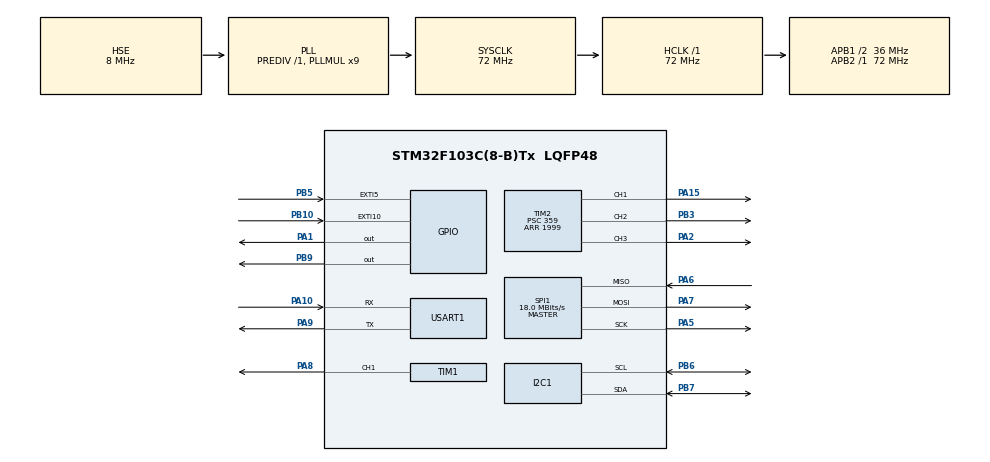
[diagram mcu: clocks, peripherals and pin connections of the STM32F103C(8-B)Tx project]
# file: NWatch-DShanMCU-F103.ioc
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I2C1.I2C_Mode=I2C_Fast
Mcu.Family=STM32F1
Mcu.Name=STM32F103C(8-B)Tx
Mcu.Package=LQFP48
NVIC.EXTI15_10_IRQn=true\:5\:0\:true\:false\:true\:true\:true\:true
NVIC.PriorityGroup=NVIC_PRIORITYGROUP_4
PA1.GPIO_ModeDefaultOutputPP=GPIO_MODE_OUTPUT_OD
PA1.GPIO_PuPd=GPIO_PULLUP
PA1.Signal=GPIO_Output
PA10.Mode=Asynchronous
PA10.Signal=USART1_RX
PA13.Mode=Serial_Wire
PA13.Signal=SYS_JTMS-SWDIO
PA14.Mode=Serial_Wire
PA14.Signal=SYS_JTCK-SWCLK
PA15.Signal=S_TIM2_CH1_ETR
PA2.Signal=S_TIM2_CH3
PA5.Mode=Full_Duplex_Master
PA5.Signal=SPI1_SCK
PA6.Mode=Full_Duplex_Master
PA6.Signal=SPI1_MISO
PA7.Mode=Full_Duplex_Master
PA7.Signal=SPI1_MOSI
PA8.Signal=S_TIM1_CH1
PA9.Mode=Asynchronous
PA9.Signal=USART1_TX
PB10.GPIO_ModeDefaultEXTI=GPIO_MODE_IT_RISING_FALLING
PB10.GPIO_PuPd=GPIO_PULLUP
PB10.Signal=GPXTI10
PB3.Signal=S_TIM2_CH2
PB5.GPIO_PuPd=GPIO_PULLUP
PB5.Signal=GPXTI5
PB6.Mode=I2C
PB6.Signal=I2C1_SCL
PB7.Mode=I2C
PB7.Signal=I2C1_SDA
PB9.Signal=GPIO_Output
PD0-OSC_IN.Mode=HSE-External-Oscillator
PD0-OSC_IN.Signal=RCC_OSC_IN
PD1-OSC_OUT.Mode=HSE-External-Oscillator
PD1-OSC_OUT.Signal=RCC_OSC_OUT
ProjectManager.HeapSize=0x200
ProjectManager.StackSize=0x400
ProjectManager.TargetToolchain=MDK-ARM V5.32
RCC.AHBFreq_Value=72000000
RCC.APB1CLKDivider=RCC_HCLK_DIV2
RCC.APB1Freq_Value=36000000
RCC.APB1TimFreq_Value=72000000
RCC.APB2Freq_Value=72000000
RCC.APB2TimFreq_Value=72000000
RCC.HCLKFreq_Value=72000000
RCC.PLLMUL=RCC_PLL_MUL9
RCC.PLLSourceVirtual=RCC_PLLSOURCE_HSE
RCC.SYSCLKFreq_VALUE=72000000
RCC.SYSCLKSource=RCC_SYSCLKSOURCE_PLLCLK
RCC.USBFreq_Value=72000000
SH.S_TIM1_CH1.0=TIM1_CH1,PWM Generation1 CH1
SH.S_TIM2_CH1_ETR.0=TIM2_CH1,PWM Generation1 CH1
SH.S_TIM2_CH2.0=TIM2_CH2,PWM Generation2 CH2
SH.S_TIM2_CH3.0=TIM2_CH3,PWM Generation3 CH3
SPI1.BaudRatePrescaler=SPI_BAUDRATEPRESCALER_4
SPI1.CalculateBaudRate=18.0 MBits/s
SPI1.Direction=SPI_DIRECTION_2LINES
SPI1.Mode=SPI_MODE_MASTER
SPI1.VirtualType=VM_MASTER
TIM1.AutoReloadPreload=TIM_AUTORELOAD_PRELOAD_ENABLE
TIM1.Channel-PWM\ Generation1\ CH1=TIM_CHANNEL_1
TIM1.Period=999
TIM1.Prescaler=71
TIM1.Pulse-PWM\ Generation1\ CH1=499
TIM2.AutoReloadPreload=TIM_AUTORELOAD_PRELOAD_ENABLE
TIM2.Channel-PWM\ Generation1\ CH1=TIM_CHANNEL_1
TIM2.Channel-PWM\ Generation2\ CH2=TIM_CHANNEL_2
TIM2.Channel-PWM\ Generation3\ CH3=TIM_CHANNEL_3
TIM2.Period=1999
TIM2.Prescaler=359
USART1.VirtualMode=VM_ASYNC
VP_TIM2_VS_ClockSourceINT.Mode=Internal
board=custom

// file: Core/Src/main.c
/* USER CODE BEGIN Header */
// SPDX-License-Identifier: GPL-3.0-only
/*
 * Copyright (c) 2008-2023 100askTeam : Dongshan WEI <weidongshan@qq.com>
 * Discourse:  https://forums.100ask.net
 */

/*  Copyright (C) 2008-2023 深圳百问网科技有限公司
 *  All rights reserved
 *
 * 免责声明: 百问网编写的文档, 仅供学员学习使用, 可以转发或引用(请保留作者信息),禁止用于商业用途！
 * 免责声明: 百问网编写的程序, 可以用于商业用途, 但百问网不承担任何后果！
 *
 * 文件名称：driver_color_led.c
 * 本程序遵循GPL V3协议, 请遵循协议
 * 百问网学习平台   : https://www.100ask.net
 * 百问网交流社区   : https://forums.100ask.net
 * 百问网官方B站    : https://space.bilibili.com/275908810
 * 本程序所用开发板 : DShanMCU-F103
 * 百问网官方淘宝   : https://100ask.taobao.com
 * 联系我们(E-mail): weidongshan@qq.com
 *
 *          版权所有，盗版必究。
 *
 * 修改历史     版本号           作者        修改内容
 *-----------------------------------------------------
 * 2023.08.04      v01         百问科技      创建文件
 *-----------------------------------------------------
 */

/**
  ******************************************************************************
  * @file           : main.c
  * @brief          : Main program body
  ******************************************************************************
  * @attention
  *
  * Copyright (c) 2023 STMicroelectronics.
  * All rights reserved.
  *
  * This software is licensed under terms that can be found in the LICENSE file
  * in the root directory of this software component.
  * If no LICENSE file comes with this software, it is provided AS-IS.
  *
  ******************************************************************************
  */
/* USER CODE END Header */
#include "main.h"

I2C_HandleTypeDef hi2c1;

SPI_HandleTypeDef hspi1;

TIM_HandleTypeDef htim1;
TIM_HandleTypeDef htim2;

UART_HandleTypeDef huart1;

void SystemClock_Config(void);
static void MX_GPIO_Init(void);
static void MX_I2C1_Init(void);
static void MX_TIM1_Init(void);
static void MX_TIM2_Init(void);
static void MX_USART1_UART_Init(void);
static void MX_SPI1_Init(void);

int main(void)
{

  /* MCU Configuration--------------------------------------------------------*/

  /* Reset of all peripherals, Initializes the Flash interface and the Systick. */
  HAL_Init();

  /* Configure the system clock */
  SystemClock_Config();

  /* Initialize all configured peripherals */
  MX_GPIO_Init();
  MX_I2C1_Init();
  MX_TIM1_Init();
  MX_TIM2_Init();
  MX_USART1_UART_Init();
  MX_SPI1_Init();
  /* USER CODE BEGIN 2 */
	PassiveBuzzer_Init();
	ColorLED_Init();
	DHT11_Init();

	appconfig_init();
	LCD_Init();
  LCD_Clear();

	draw_init();

	console_log(50,"Init_OLED: OK");
	console_log(100,"--- welcome !---");
	console_log(50,"  _   _    _    ");
	console_log(50," | | | |  |_|   ");
	console_log(50," | |_| |   _    ");
	console_log(50," |  _  |  | |   ");
	console_log(50," | | | |  | |   ");
	console_log(50," |_| |_|  |_|   ");
	console_log(50,"                ");
	console_log(100,"-www.100ask.net-");

	time_init();
	///rtc_init();
	global_init();
	alarm_init();             //�����޷��������ӣ�ÿ�������Ժ���Ҫ�Զ���
  buttons_init();
  global_init();
	pwrmgr_init();

	console_log(50, "Init_MPU: OK!");
	console_log(500,"Loading...");

	LCD_Clear();
	LCD_ClearFrameBuffer();

	// Set watchface
	display_set(watchface_normal);
	display_load();

  /* USER CODE END 2 */

  /* Infinite loop */
  while (1)
  {

    /* USER CODE BEGIN 3 */
		time_update();
		if(pwrmgr_userActive())
		{
			///battery_update();
			buttons_update();
		}

		buzzer_update();

		led_update();

#if COMPILE_STOPWATCH
		stopwatch_update();
#endif

		global_update();

		if(pwrmgr_userActive())
		{
			 alarm_update();
			 display_update();
		}

		pwrmgr_update();     //����ͣ��ģʽ

  }
  /* USER CODE END 3 */
}

void SystemClock_Config(void)
{
  RCC_OscInitTypeDef RCC_OscInitStruct = {0};
  RCC_ClkInitTypeDef RCC_ClkInitStruct = {0};

  /** Initializes the RCC Oscillators according to the specified parameters
  * in the RCC_OscInitTypeDef structure.
  */
  RCC_OscInitStruct.OscillatorType = RCC_OSCILLATORTYPE_HSE;
  RCC_OscInitStruct.HSEState = RCC_HSE_ON;
  RCC_OscInitStruct.HSEPredivValue = RCC_HSE_PREDIV_DIV1;
  RCC_OscInitStruct.HSIState = RCC_HSI_ON;
  RCC_OscInitStruct.PLL.PLLState = RCC_PLL_ON;
  RCC_OscInitStruct.PLL.PLLSource = RCC_PLLSOURCE_HSE;
  RCC_OscInitStruct.PLL.PLLMUL = RCC_PLL_MUL9;
  if (HAL_RCC_OscConfig(&RCC_OscInitStruct) != HAL_OK)
  {
    Error_Handler();
  }

  /** Initializes the CPU, AHB and APB buses clocks
  */
  RCC_ClkInitStruct.ClockType = RCC_CLOCKTYPE_HCLK|RCC_CLOCKTYPE_SYSCLK
                              |RCC_CLOCKTYPE_PCLK1|RCC_CLOCKTYPE_PCLK2;
  RCC_ClkInitStruct.SYSCLKSource = RCC_SYSCLKSOURCE_PLLCLK;
  RCC_ClkInitStruct.AHBCLKDivider = RCC_SYSCLK_DIV1;
  RCC_ClkInitStruct.APB1CLKDivider = RCC_HCLK_DIV2;
  RCC_ClkInitStruct.APB2CLKDivider = RCC_HCLK_DIV1;

  if (HAL_RCC_ClockConfig(&RCC_ClkInitStruct, FLASH_LATENCY_2) != HAL_OK)
  {
    Error_Handler();
  }
}

static void MX_I2C1_Init(void)
{

  hi2c1.Instance = I2C1;
  hi2c1.Init.ClockSpeed = 400000;
  hi2c1.Init.DutyCycle = I2C_DUTYCYCLE_2;
  hi2c1.Init.OwnAddress1 = 0;
  hi2c1.Init.AddressingMode = I2C_ADDRESSINGMODE_7BIT;
  hi2c1.Init.DualAddressMode = I2C_DUALADDRESS_DISABLE;
  hi2c1.Init.OwnAddress2 = 0;
  hi2c1.Init.GeneralCallMode = I2C_GENERALCALL_DISABLE;
  hi2c1.Init.NoStretchMode = I2C_NOSTRETCH_DISABLE;
  if (HAL_I2C_Init(&hi2c1) != HAL_OK)
  {
    Error_Handler();
  }

}

static void MX_SPI1_Init(void)
{

  /* SPI1 parameter configuration*/
  hspi1.Instance = SPI1;
  hspi1.Init.Mode = SPI_MODE_MASTER;
  hspi1.Init.Direction = SPI_DIRECTION_2LINES;
  hspi1.Init.DataSize = SPI_DATASIZE_8BIT;
  hspi1.Init.CLKPolarity = SPI_POLARITY_LOW;
  hspi1.Init.CLKPhase = SPI_PHASE_1EDGE;
  hspi1.Init.NSS = SPI_NSS_SOFT;
  hspi1.Init.BaudRatePrescaler = SPI_BAUDRATEPRESCALER_4;
  hspi1.Init.FirstBit = SPI_FIRSTBIT_MSB;
  hspi1.Init.TIMode = SPI_TIMODE_DISABLE;
  hspi1.Init.CRCCalculation = SPI_CRCCALCULATION_DISABLE;
  hspi1.Init.CRCPolynomial = 10;
  if (HAL_SPI_Init(&hspi1) != HAL_OK)
  {
    Error_Handler();
  }

}

static void MX_TIM1_Init(void)
{

  TIM_MasterConfigTypeDef sMasterConfig = {0};
  TIM_OC_InitTypeDef sConfigOC = {0};
  TIM_BreakDeadTimeConfigTypeDef sBreakDeadTimeConfig = {0};

  htim1.Instance = TIM1;
  htim1.Init.Prescaler = 71;
  htim1.Init.CounterMode = TIM_COUNTERMODE_UP;
  htim1.Init.Period = 999;
  htim1.Init.ClockDivision = TIM_CLOCKDIVISION_DIV1;
  htim1.Init.RepetitionCounter = 0;
  htim1.Init.AutoReloadPreload = TIM_AUTORELOAD_PRELOAD_ENABLE;
  if (HAL_TIM_PWM_Init(&htim1) != HAL_OK)
  {
    Error_Handler();
  }
  sMasterConfig.MasterOutputTrigger = TIM_TRGO_RESET;
  sMasterConfig.MasterSlaveMode = TIM_MASTERSLAVEMODE_DISABLE;
  if (HAL_TIMEx_MasterConfigSynchronization(&htim1, &sMasterConfig) != HAL_OK)
  {
    Error_Handler();
  }
  sConfigOC.OCMode = TIM_OCMODE_PWM1;
  sConfigOC.Pulse = 499;
  sConfigOC.OCPolarity = TIM_OCPOLARITY_HIGH;
  sConfigOC.OCNPolarity = TIM_OCNPOLARITY_HIGH;
  sConfigOC.OCFastMode = TIM_OCFAST_DISABLE;
  sConfigOC.OCIdleState = TIM_OCIDLESTATE_RESET;
  sConfigOC.OCNIdleState = TIM_OCNIDLESTATE_RESET;
  if (HAL_TIM_PWM_ConfigChannel(&htim1, &sConfigOC, TIM_CHANNEL_1) != HAL_OK)
  {
    Error_Handler();
  }
  sBreakDeadTimeConfig.OffStateRunMode = TIM_OSSR_DISABLE;
  sBreakDeadTimeConfig.OffStateIDLEMode = TIM_OSSI_DISABLE;
  sBreakDeadTimeConfig.LockLevel = TIM_LOCKLEVEL_OFF;
  sBreakDeadTimeConfig.DeadTime = 0;
  sBreakDeadTimeConfig.BreakState = TIM_BREAK_DISABLE;
  sBreakDeadTimeConfig.BreakPolarity = TIM_BREAKPOLARITY_HIGH;
  sBreakDeadTimeConfig.AutomaticOutput = TIM_AUTOMATICOUTPUT_DISABLE;
  if (HAL_TIMEx_ConfigBreakDeadTime(&htim1, &sBreakDeadTimeConfig) != HAL_OK)
  {
    Error_Handler();
  }
  HAL_TIM_MspPostInit(&htim1);

}

static void MX_TIM2_Init(void)
{

  TIM_ClockConfigTypeDef sClockSourceConfig = {0};
  TIM_MasterConfigTypeDef sMasterConfig = {0};
  TIM_OC_InitTypeDef sConfigOC = {0};

  htim2.Instance = TIM2;
  htim2.Init.Prescaler = 359;
  htim2.Init.CounterMode = TIM_COUNTERMODE_UP;
  htim2.Init.Period = 1999;
  htim2.Init.ClockDivision = TIM_CLOCKDIVISION_DIV1;
  htim2.Init.AutoReloadPreload = TIM_AUTORELOAD_PRELOAD_ENABLE;
  if (HAL_TIM_Base_Init(&htim2) != HAL_OK)
  {
    Error_Handler();
  }
  sClockSourceConfig.ClockSource = TIM_CLOCKSOURCE_INTERNAL;
  if (HAL_TIM_ConfigClockSource(&htim2, &sClockSourceConfig) != HAL_OK)
  {
    Error_Handler();
  }
  if (HAL_TIM_PWM_Init(&htim2) != HAL_OK)
  {
    Error_Handler();
  }
  sMasterConfig.MasterOutputTrigger = TIM_TRGO_RESET;
  sMasterConfig.MasterSlaveMode = TIM_MASTERSLAVEMODE_DISABLE;
  if (HAL_TIMEx_MasterConfigSynchronization(&htim2, &sMasterConfig) != HAL_OK)
  {
    Error_Handler();
  }
  sConfigOC.OCMode = TIM_OCMODE_PWM1;
  sConfigOC.Pulse = 0;
  sConfigOC.OCPolarity = TIM_OCPOLARITY_HIGH;
  sConfigOC.OCFastMode = TIM_OCFAST_DISABLE;
  if (HAL_TIM_PWM_ConfigChannel(&htim2, &sConfigOC, TIM_CHANNEL_1) != HAL_OK)
  {
    Error_Handler();
  }
  if (HAL_TIM_PWM_ConfigChannel(&htim2, &sConfigOC, TIM_CHANNEL_2) != HAL_OK)
  {
    Error_Handler();
  }
  if (HAL_TIM_PWM_ConfigChannel(&htim2, &sConfigOC, TIM_CHANNEL_3) != HAL_OK)
  {
    Error_Handler();
  }
  HAL_TIM_MspPostInit(&htim2);

}

static void MX_USART1_UART_Init(void)
{

  huart1.Instance = USART1;
  huart1.Init.BaudRate = 115200;
  huart1.Init.WordLength = UART_WORDLENGTH_8B;
  huart1.Init.StopBits = UART_STOPBITS_1;
  huart1.Init.Parity = UART_PARITY_NONE;
  huart1.Init.Mode = UART_MODE_TX_RX;
  huart1.Init.HwFlowCtl = UART_HWCONTROL_NONE;
  huart1.Init.OverSampling = UART_OVERSAMPLING_16;
  if (HAL_UART_Init(&huart1) != HAL_OK)
  {
    Error_Handler();
  }

}

static void MX_GPIO_Init(void)
{
  GPIO_InitTypeDef GPIO_InitStruct = {0};

  /* GPIO Ports Clock Enable */
  __HAL_RCC_GPIOD_CLK_ENABLE();
  __HAL_RCC_GPIOA_CLK_ENABLE();
  __HAL_RCC_GPIOB_CLK_ENABLE();

  /*Configure GPIO pin Output Level */
  HAL_GPIO_WritePin(GPIOA, GPIO_PIN_1, GPIO_PIN_RESET);

  /*Configure GPIO pin Output Level */
  HAL_GPIO_WritePin(GPIOB, GPIO_PIN_9, GPIO_PIN_RESET);

  /*Configure GPIO pin : PA1 */
  GPIO_InitStruct.Pin = GPIO_PIN_1;
  GPIO_InitStruct.Mode = GPIO_MODE_OUTPUT_OD;
  GPIO_InitStruct.Pull = GPIO_PULLUP;
  GPIO_InitStruct.Speed = GPIO_SPEED_FREQ_LOW;
  HAL_GPIO_Init(GPIOA, &GPIO_InitStruct);

  /*Configure GPIO pin : PB10 */
  GPIO_InitStruct.Pin = GPIO_PIN_10;
  GPIO_InitStruct.Mode = GPIO_MODE_IT_RISING_FALLING;
  GPIO_InitStruct.Pull = GPIO_PULLUP;
  HAL_GPIO_Init(GPIOB, &GPIO_InitStruct);

  /*Configure GPIO pin : PB5 */
  GPIO_InitStruct.Pin = GPIO_PIN_5;
  GPIO_InitStruct.Mode = GPIO_MODE_IT_RISING;
  GPIO_InitStruct.Pull = GPIO_PULLUP;
  HAL_GPIO_Init(GPIOB, &GPIO_InitStruct);

  /*Configure GPIO pin : PB9 */
  GPIO_InitStruct.Pin = GPIO_PIN_9;
  GPIO_InitStruct.Mode = GPIO_MODE_OUTPUT_PP;
  GPIO_InitStruct.Pull = GPIO_NOPULL;
  GPIO_InitStruct.Speed = GPIO_SPEED_FREQ_LOW;
  HAL_GPIO_Init(GPIOB, &GPIO_InitStruct);

  /* EXTI interrupt init*/
  HAL_NVIC_SetPriority(EXTI15_10_IRQn, 5, 0);
  HAL_NVIC_EnableIRQ(EXTI15_10_IRQn);

}

void Error_Handler(void)
{
  __disable_irq();
  while (1)
  {
  }
}
